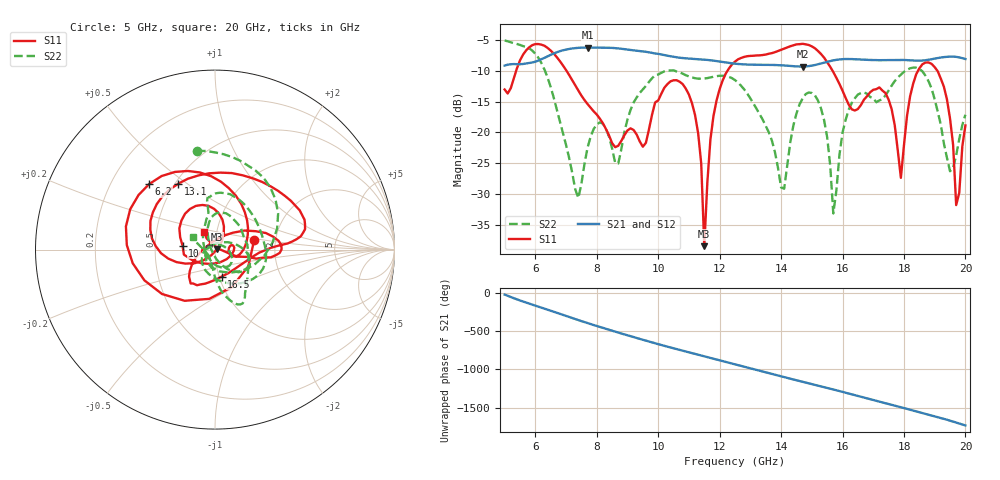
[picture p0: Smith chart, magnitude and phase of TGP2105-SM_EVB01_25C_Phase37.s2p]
! Date: Wednesday, June 05, 2013  1:51 PM
! Filename: C:\Data\Mike_Arnold\TGP2105-SM\Over_Temp\TGP2105-SM_EVB01_25C_Phase37.s2p
! Comments:
!^VDC(V):5.000
!^VDC(mA):0.085
!%Freq(GHz),S11(dB),S11(ang),S21(dB),S21(ang),S12(dB),S12(ang),S22(dB),S22(ang)
# GHz  S  DB  R  50
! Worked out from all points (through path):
!   151 points, 5 GHz to 20 GHz, reference 50 ohm
!   highest |S21| = -6.18 dB at 7.7 GHz (marker M1); lowest = -9.3 dB at 14.7 GHz (marker M2)
!   lowest |S11| = -38.5 dB at 11.5 GHz (marker M3), VSWR 1.02, Z = 51.2 + j0.182 ohm
!   |S11| at or under -10 dB: 7.019 GHz to 12.25 GHz (5.232 GHz wide, 54.3 % of centre); 15.68 GHz to 18.45 GHz (2.776 GHz wide, 16.3 % of centre); 19.09 GHz to end of sweep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
!   |S22| runs from -33.2 to -5.0 dB; largest |S21 - S12| = 0.002
!   S11 on the Smith chart (normalised r, x): 5 GHz: 1.55, +0.17; 6.2 GHz: 0.37, +0.37; 10 GHz: 0.69, +0.03; 13.1 GHz: 0.52, +0.46; 16.5 GHz: 1.03, -0.32; 20 GHz: 0.87, +0.17
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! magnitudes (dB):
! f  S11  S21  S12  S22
! 5 GHz  -13.0  -9.1  -9.1  -5.0
! 6.2 GHz  -5.7  -8.1  -8.1  -8.7
! 7.5 GHz  -14.0  -6.2  -6.2  -28.3
! 7.7 GHz  -15.4  -6.2  -6.2  -22.5
! 8.7 GHz  -22.2  -6.3  -6.4  -25.0
! 10 GHz  -14.8  -7.2  -7.2  -10.6
! 11.1 GHz  -15.2  -8.0  -8.0  -11.0
! 11.5 GHz  -38.5  -8.2  -8.2  -11.2
! 11.8 GHz  -17.3  -8.3  -8.3  -10.9
! 12.5 GHz  -8.5  -8.8  -8.8  -11.5
! 13.1 GHz  -7.5  -9.0  -9.0  -15.3
! 14.1 GHz  -6.4  -9.1  -9.1  -29.1
! 14.7 GHz  -5.6  -9.3  -9.3  -14.5
! 15 GHz  -6.0  -9.1  -9.2  -13.6
! 15.7 GHz  -10.2  -8.3  -8.3  -33.2
! 16.5 GHz  -16.2  -8.1  -8.1  -13.8
! 17.5 GHz  -14.7  -8.2  -8.3  -13.2
! 17.9 GHz  -27.4  -8.2  -8.2  -10.6
! 18.4 GHz  -10.5  -8.3  -8.3  -9.5
! 19.1 GHz  -10.1  -7.9  -7.9  -16.6
! 19.7 GHz  -31.8  -7.7  -7.7  -23.7
! 20 GHz  -18.9  -8.1  -8.1  -17.1
